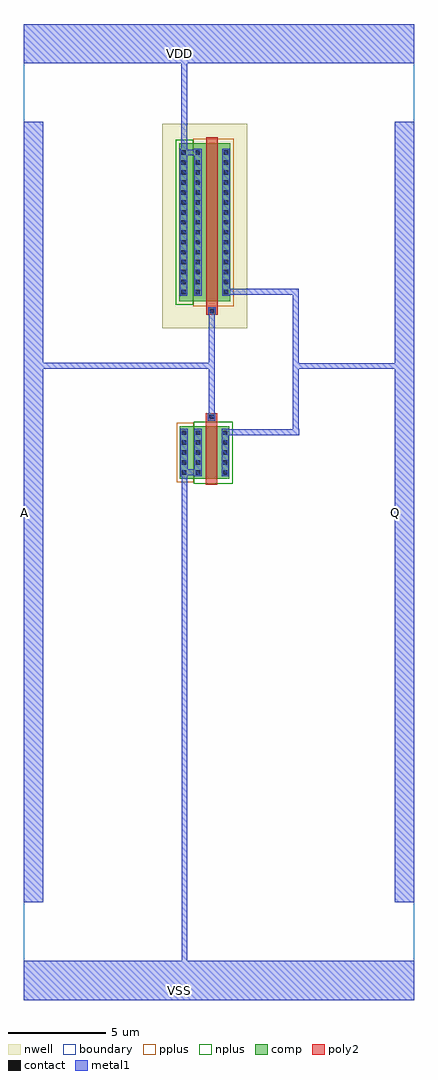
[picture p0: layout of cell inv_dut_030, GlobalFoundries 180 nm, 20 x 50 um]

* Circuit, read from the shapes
.subckt inv_dut_030 A Q VDD VSS
XM1 Q A VSS VSS nfet_03v3 w=2.7u l=0.6u
XM2 Q A VDD VDD pfet_03v3 w=8.1u l=0.6u
.ends

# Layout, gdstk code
from math import pi, radians
import gdstk
lib = gdstk.Library(unit=1e-6, precision=1e-09)
def R(c, l, rs):  # rectangles x0, y0, x1, y1
    for r in rs: c.add(gdstk.rectangle(r[:2], r[2:], *l))
def A(c, l, x, y, w, h, nx, ny, dx, dy):  # array of equal rectangles
    R(c, l, [(x+i*dx, y+j*dy, x+i*dx+w, y+j*dy+h) for i in range(nx) for j in range(ny)])
boundary = (0, 0)
nwell = (21, 0)
comp = (22, 0)
poly2 = (30, 0)
pplus = (31, 0)
nplus = (32, 0)
contact = (33, 0)
metal1 = (34, 0)

pfet = lib.new_cell('pfet')
R(pfet, nwell, [(-1.32,-0.99,3.03,9.47)])
R(pfet, comp, [(-0.46,0,2.17,8.1)])
R(pfet, poly2, [(0.19,-0.3,0.79,8.78)])
R(pfet, pplus, [(-0.63,-0.24,1.44,8.34)])
R(pfet, nplus, [(1.44,-0.17,2.34,8.27)])
A(pfet, contact, -0.34, 0.37, 0.22, 0.22, 1, 15, 0, 0.51)
A(pfet, contact, 1.1, 0.37, 0.22, 0.22, 1, 15, 0, 0.51)
A(pfet, contact, 1.83, 0.37, 0.22, 0.22, 1, 15, 0, 0.51)
R(pfet, contact, [(0.38,8.48,0.6,8.7)])
R(pfet, metal1, [(-0.42,0.29,-0.04,7.81), (1.02,0.29,1.4,7.81), (1.75,0.29,2.13,7.81), (0.3,8.4,0.68,8.78)])

nfet = lib.new_cell('nfet')
R(nfet, comp, [(-0.42,0,2.11,2.7)])
R(nfet, poly2, [(0.19,-0.3,0.79,3.36)])
R(nfet, pplus, [(1.4,-0.17,2.28,2.87)])
R(nfet, nplus, [(-0.59,-0.24,1.4,2.94)])
A(nfet, contact, -0.32, 0.22, 0.22, 0.22, 1, 5, 0, 0.51)
A(nfet, contact, 1.08, 0.22, 0.22, 0.22, 1, 5, 0, 0.51)
A(nfet, contact, 1.79, 0.22, 0.22, 0.22, 1, 5, 0, 0.51)
R(nfet, contact, [(0.38,3.07,0.6,3.29)])
R(nfet, metal1, [(-0.4,0.14,-0.02,2.56), (1,0.14,1.38,2.56), (1.71,0.14,2.09,2.56), (0.3,2.99,0.68,3.37)])

inv_dut_030 = lib.new_cell('inv_dut_030')
R(inv_dut_030, boundary, [(-10,-25,10,25)])
R(inv_dut_030, metal1, [(-10,-25,10,-23), (-10,-20,-9,20), (9,-20,10,20), (-10,23,10,25)])
inv_dut_030.add(gdstk.FlexPath([(-1.965,18.42),(-0.945,18.42)], 0.3, ends="flush", simple_path=True, layer=34, datatype=0))  # metal1
inv_dut_030.add(gdstk.FlexPath([(-1.78,18.27),(-1.78,23.16)], 0.3, ends="flush", simple_path=True, layer=34, datatype=0))  # metal1
inv_dut_030.add(gdstk.FlexPath([(-0.37,10.49),(-0.37,4.735)], 0.3, ends="flush", simple_path=True, layer=34, datatype=0))  # metal1
inv_dut_030.add(gdstk.FlexPath([(-1.92,2.035),(-0.955,2.035)], 0.3, ends="flush", simple_path=True, layer=34, datatype=0))  # metal1
inv_dut_030.add(gdstk.FlexPath([(3.94,11.365),(3.94,3.94)], 0.3, ends="flush", simple_path=True, layer=34, datatype=0))  # metal1
inv_dut_030.add(gdstk.FlexPath([(0.195,11.275),(4.075,11.275)], 0.3, ends="flush", simple_path=True, layer=34, datatype=0))  # metal1
inv_dut_030.add(gdstk.FlexPath([(0.16,4.085),(4.1,4.085)], 0.3, ends="flush", simple_path=True, layer=34, datatype=0))  # metal1
inv_dut_030.add(gdstk.FlexPath([(3.92,7.48),(9.16,7.48)], 0.3, ends="flush", simple_path=True, layer=34, datatype=0))  # metal1
inv_dut_030.add(gdstk.FlexPath([(-1.765,2.2),(-1.765,-23.235)], 0.3, ends="flush", simple_path=True, layer=34, datatype=0))  # metal1
inv_dut_030.add(gdstk.FlexPath([(-0.395,7.495),(-9.205,7.495)], 0.3, ends="flush", simple_path=True, layer=34, datatype=0))  # metal1
inv_dut_030.add(gdstk.Reference(pfet, (0.125,18.89), rotation=pi))
inv_dut_030.add(gdstk.Reference(nfet, (0.11,1.695), rotation=pi, x_reflection=True))
inv_dut_030.add(gdstk.Label('VDD', (-2,23.5), layer=34, texttype=10))
inv_dut_030.add(gdstk.Label('VSS', (-2,-24.5), layer=34, texttype=10))
inv_dut_030.add(gdstk.Label('A', (-9.97,0), layer=34, texttype=10))
inv_dut_030.add(gdstk.Label('Q', (9.03,0), layer=34, texttype=10))

lib.write_gds('inv_dut_030.gds')
